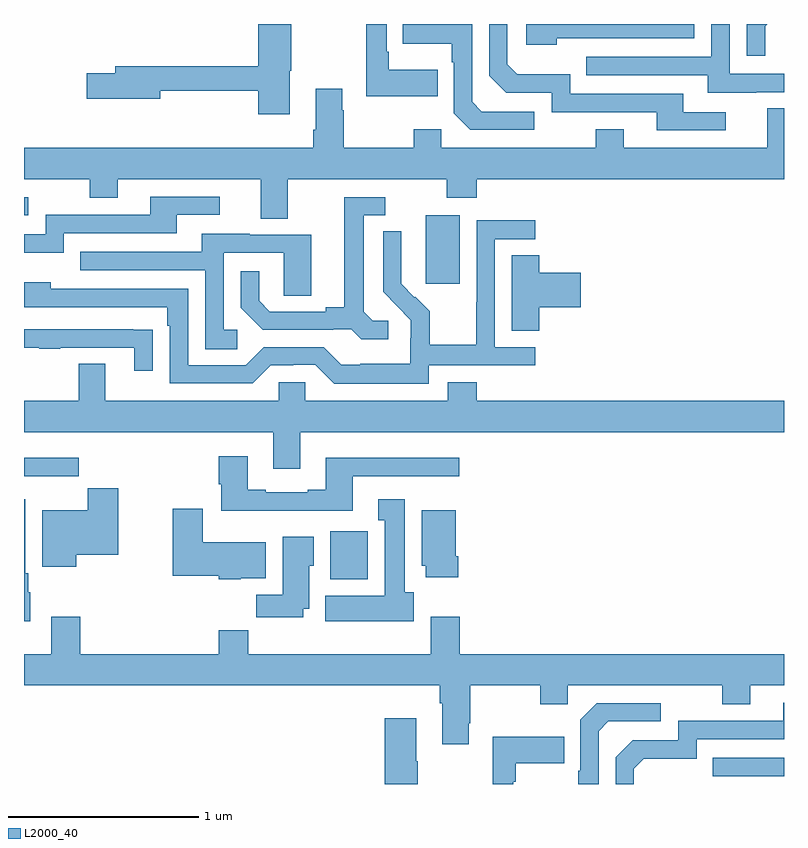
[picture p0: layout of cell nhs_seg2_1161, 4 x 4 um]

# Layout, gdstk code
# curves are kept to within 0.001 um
import gdstk
lib = gdstk.Library(unit=1e-6, precision=1e-09)
def R(c, l, rs):  # rectangles x0, y0, x1, y1
    for r in rs: c.add(gdstk.rectangle(r[:2], r[2:], *l))
def P(c, l, *ps):  # polygons
    for p in ps: c.add(gdstk.Polygon(p, *l))
L2000_40 = (2000, 40)

nhs_seg2_1161 = lib.new_cell('nhs_seg2_1161')
R(nhs_seg2_1161, L2000_40, [(174.625,629.841,175,629.937), (172.613,630.878,172.809,631.129), (173.114,632.433,173.293,632.794), (171,632.793,171.022,632.889)])
P(nhs_seg2_1161, L2000_40, [(174.853,633.441),(175,633.441),(175,633.537),(174.714,633.537),(174.714,633.8),(174.618,633.8),(174.618,633.627),(173.959,633.627),(173.959,633.531),(174.599,633.531),(174.599,633.437),(174.853,633.437)],
  [(173.177,633.559),(172.921,633.559),(172.921,633.655),(172.908,633.655),(172.908,633.8),(172.8,633.8),(172.8,633.419),(173.177,633.419)],
  [(172.399,633.555),(172.407,633.555),(172.407,633.8),(172.232,633.8),(172.232,633.578),(171.479,633.578),(171.479,633.542),(171.33,633.542),(171.33,633.407),(171.718,633.407),(171.718,633.45),(172.232,633.45),(172.232,633.324),(172.399,633.324)],
  [(174.901,633.789),(174.912,633.8),(174.804,633.8),(174.804,633.633),(174.901,633.633)],
  [(173.686,633.339),(173.409,633.339),(173.358,633.39),(173.358,633.8),(172.993,633.8),(172.993,633.695),(173.25,633.695),(173.25,633.599),(173.262,633.599),(173.262,633.33),(173.349,633.243),(173.686,633.243)],
  [(174.694,633.336),(174.469,633.336),(174.469,633.432),(173.874,633.432),(173.874,633.535),(173.597,633.535),(173.544,633.588),(173.544,633.8),(173.448,633.8),(173.448,633.528),(173.538,633.438),(173.778,633.438),(173.778,633.336),(174.329,633.336),(174.329,633.24),(174.694,633.24)],
  [(173.804,633.726),(174.528,633.726),(174.528,633.8),(173.643,633.8),(173.643,633.692),(173.804,633.692)],
  [(172.387,632.984),(173.224,632.984),(173.224,632.885),(173.384,632.885),(173.384,632.984),(175,632.984),(175,633.356),(174.911,633.356),(174.911,633.148),(174.157,633.148),(174.157,633.247),(174.01,633.247),(174.01,633.148),(173.196,633.148),(173.196,633.247),(173.05,633.247),(173.05,633.148),(172.683,633.148),(172.683,633.347),(172.675,633.347),(172.675,633.46),(172.535,633.46),(172.535,633.244),(172.523,633.244),(172.523,633.148),(171,633.148),(171,632.984),(171.346,632.984),(171.346,632.885),(171.493,632.885),(171.493,632.984),(172.247,632.984),(172.247,632.776),(172.387,632.776)],
  [(171.21,632.7),(171.805,632.7),(171.805,632.796),(172.03,632.796),(172.03,632.892),(171.665,632.892),(171.665,632.796),(171.114,632.796),(171.114,632.694),(171,632.694),(171,632.597),(171.21,632.597)],
  [(172.918,632.238),(172.836,632.238),(172.789,632.285),(172.789,632.793),(172.9,632.793),(172.9,632.889),(172.685,632.889),(172.685,632.309),(172.589,632.309),(172.589,632.286),(172.294,632.286),(172.237,632.343),(172.237,632.5),(172.14,632.5),(172.14,632.306),(172.256,632.19),(172.628,632.19),(172.628,632.193),(172.722,632.193),(172.774,632.141),(172.918,632.141)],
  [(173.13,632.004),(173.692,632.004),(173.692,632.1),(173.478,632.1),(173.478,632.667),(173.692,632.667),(173.692,632.766),(173.382,632.766),(173.382,632.336),(173.38,632.336),(173.38,632.113),(173.135,632.113),(173.135,632.287),(173.058,632.364),(173.055,632.361),(172.985,632.432),(172.986,632.708),(172.89,632.708),(172.89,632.39),(173.036,632.242),(173.036,632.145),(173.034,632.145),(173.034,632.011),(172.771,632.011),(172.771,632.007),(172.671,632.007),(172.578,632.1),(172.263,632.1),(172.167,632.004),(171.864,632.004),(171.864,632.406),(171.14,632.406),(171.14,632.44),(171,632.44),(171,632.31),(171.755,632.31),(171.755,632.213),(171.768,632.213),(171.768,631.908),(172.203,631.908),(172.299,632.004),(172.418,632.004),(172.418,632.007),(172.533,632.007),(172.633,631.907),(173.13,631.907)],
  [(172.123,632.19),(172.05,632.19),(172.05,632.595),(172.368,632.595),(172.368,632.371),(172.513,632.371),(172.513,632.691),(172.189,632.691),(172.189,632.695),(171.935,632.695),(171.935,632.601),(171.295,632.601),(171.295,632.505),(171.954,632.505),(171.954,632.089),(172.123,632.089)],
  [(173.711,632.309),(173.929,632.309),(173.929,632.492),(173.711,632.492),(173.711,632.582),(173.567,632.582),(173.567,632.185),(173.711,632.185)],
  [(171.677,632.192),(171.575,632.192),(171.575,632.193),(171,632.193),(171,632.097),(171.079,632.097),(171.079,632.092),(171.191,632.092),(171.191,632.097),(171.581,632.097),(171.581,631.974),(171.677,631.974)],
  [(172.453,631.652),(175,631.652),(175,631.816),(173.384,631.816),(173.384,631.915),(173.231,631.915),(173.231,631.816),(172.479,631.816),(172.479,631.914),(172.341,631.914),(172.341,631.816),(171.427,631.816),(171.427,632.011),(171.287,632.011),(171.287,631.816),(171,631.816),(171,631.652),(172.313,631.652),(172.313,631.458),(172.453,631.458)],
  [(172.729,631.419),(173.29,631.419),(173.29,631.516),(172.589,631.516),(172.589,631.348),(172.493,631.348),(172.493,631.335),(172.273,631.335),(172.273,631.348),(172.177,631.348),(172.177,631.525),(172.025,631.525),(172.025,631.377),(172.037,631.377),(172.037,631.238),(172.729,631.238)],
  [(171.179,631.421),(171.288,631.421),(171.288,631.516),(171,631.516),(171,631.419),(171.179,631.419)],
  [(171.274,631.007),(171.496,631.007),(171.496,631.356),(171.335,631.356),(171.335,631.24),(171.095,631.24),(171.095,630.944),(171.274,630.944)],
  [(173.05,630.81),(173.005,630.81),(173.005,631.3),(172.865,631.3),(172.865,631.187),(172.898,631.187),(172.898,630.79),(172.586,630.79),(172.586,630.656),(173.05,630.656)],
  [(171.034,630.81),(171.022,630.81),(171.022,630.91),(171.007,630.91),(171.007,631.3),(171,631.3),(171,630.656),(171.034,630.656)],
  [(172.14,630.884),(172.273,630.884),(172.273,631.072),(171.94,631.072),(171.94,631.249),(171.782,631.249),(171.782,630.896),(172.026,630.896),(172.026,630.878),(172.14,630.878)],
  [(173.285,631),(173.272,631),(173.272,631.24),(173.093,631.24),(173.093,630.948),(173.114,630.948),(173.114,630.888),(173.285,630.888)],
  [(172.471,630.722),(172.501,630.722),(172.501,630.948),(172.525,630.948),(172.525,631.102),(172.361,631.102),(172.361,630.796),(172.222,630.796),(172.222,630.678),(172.471,630.678)],
  [(173.341,630.121),(173.349,630.121),(173.349,630.32),(173.716,630.32),(173.716,630.221),(173.862,630.221),(173.862,630.32),(174.676,630.32),(174.676,630.221),(174.823,630.221),(174.823,630.32),(175,630.32),(175,630.484),(173.294,630.484),(173.294,630.679),(173.141,630.679),(173.141,630.484),(172.181,630.484),(172.181,630.608),(172.025,630.608),(172.025,630.484),(171.296,630.484),(171.296,630.679),(171.143,630.679),(171.143,630.484),(171,630.484),(171,630.32),(173.189,630.32),(173.189,630.224),(173.201,630.224),(173.201,630.009),(173.341,630.009)],
  [(174.21,629.88),(174.263,629.933),(174.54,629.933),(174.54,630.036),(175,630.036),(175,630.228),(174.995,630.228),(174.995,630.132),(174.444,630.132),(174.444,630.03),(174.204,630.03),(174.114,629.94),(174.114,629.8),(174.21,629.8)],
  [(174.024,630.078),(174.075,630.129),(174.352,630.129),(174.352,630.225),(174.015,630.225),(173.928,630.138),(173.928,629.869),(173.916,629.869),(173.916,629.8),(174.024,629.8)],
  [(173.073,629.921),(173.065,629.921),(173.065,630.145),(172.898,630.145),(172.898,629.8),(173.073,629.8)],
  [(173.574,629.813),(173.587,629.813),(173.587,629.909),(173.843,629.909),(173.843,630.049),(173.466,630.049),(173.466,629.8),(173.574,629.8)])

lib.write_gds('nhs_seg2_1161.gds')
